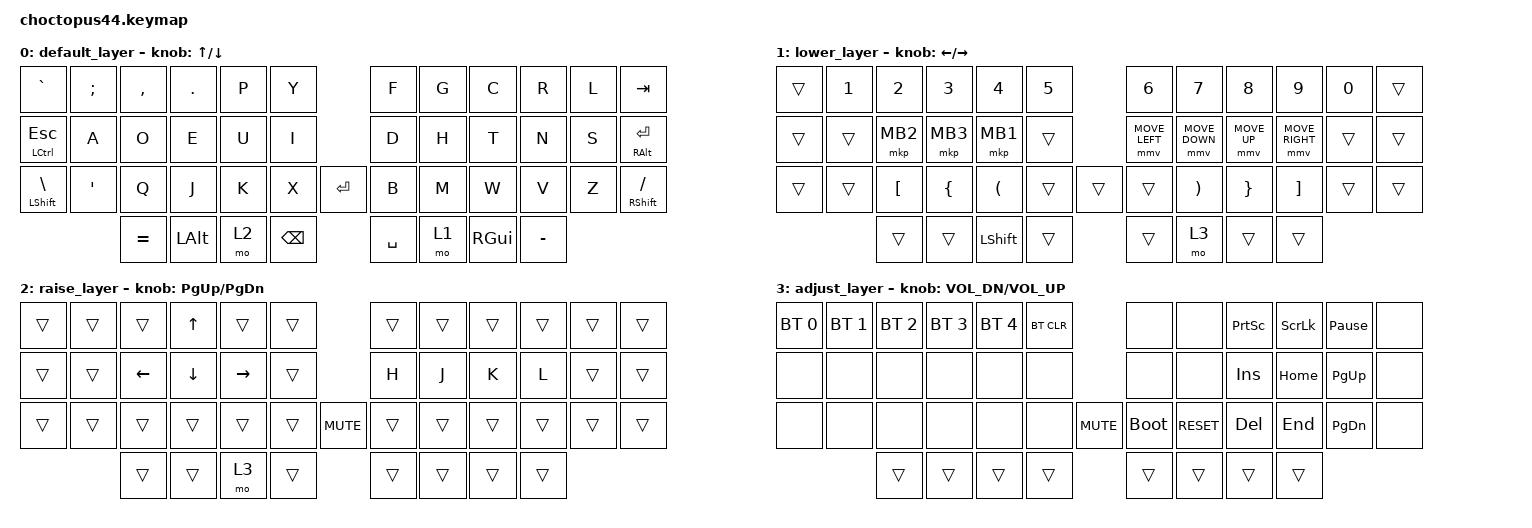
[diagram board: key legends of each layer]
/*
 * Copyright (c) 2021 The ZMK Contributors
 *
 * SPDX-License-Identifier: MIT
 */

#include <behaviors.dtsi>
#include <dt-bindings/zmk/keys.h>
#include <dt-bindings/zmk/bt.h>
#include <dt-bindings/zmk/rgb.h>
#include <dt-bindings/zmk/pointing.h>

&mt {
    tapping-term-ms = <400>;
};

#define ZMK_POINTING_DEFAULT_MOVE_VAL 1000

/ {
  keymap {
    compatible = "zmk,keymap";


    default_layer {
      bindings = <
        &kp GRAVE          &kp SEMI  &kp COMMA   &kp DOT   &kp P    &kp Y                &kp F     &kp G     &kp C      &kp R    &kp L     &kp TAB
        &mt LCTRL ESC      &kp A     &kp O       &kp E     &kp U    &kp I                &kp D     &kp H     &kp T      &kp N    &kp S     &mt RALT RET
        &mt LSHFT BSLH     &kp SQT   &kp Q       &kp J     &kp K    &kp X      &kp RET   &kp B     &kp M     &kp W      &kp V    &kp Z     &mt RSHFT FSLH
                                     &kp EQUAL   &kp LALT  &mo 2    &kp BSPC             &kp SPACE &mo 1     &kp RGUI   &kp MINUS
>;
      sensor-bindings = <&inc_dec_kp UP DOWN>;
    };

    lower_layer {
      bindings = <
        &trans    &kp N1    &kp N2     &kp N3   &kp N4    &kp N5                &kp N6              &kp N7            &kp N8       &kp N9          &kp N0    &trans
        &trans    &trans    &mkp MB2   &mkp MB3 &mkp MB1  &trans                &mmv MOVE_LEFT      &mmv MOVE_DOWN    &mmv MOVE_UP &mmv MOVE_RIGHT &trans    &trans
        &trans    &trans    &kp LBKT   &kp LBRC &kp LPAR  &trans      &trans    &trans              &kp RPAR          &kp RBRC     &kp RBKT        &trans    &trans
                            &trans     &trans   &kp LSHFT &trans                &trans              &mo 3             &trans       &trans
      >;
      sensor-bindings = <&inc_dec_kp LEFT RIGHT>;
    };

    raise_layer {
      bindings = <
        &trans      &trans            &trans                &kp UP                &trans      &trans                    &trans                &trans            &trans      &trans      &trans          &trans
        &trans      &trans            &kp LEFT              &kp DOWN              &kp RIGHT   &trans                    &kp H                 &kp J             &kp K       &kp L       &trans          &trans
        &trans      &trans            &trans                &trans                &trans      &trans       &kp C_MUTE   &trans                &trans            &trans      &trans      &trans          &trans
                                      &trans                &trans                &mo 3       &trans                    &trans                &trans            &trans      &trans
      >;
      sensor-bindings = <&inc_dec_kp PG_UP PG_DN>;
    };

    adjust_layer {
      bindings = <
        &bt BT_SEL 0  &bt BT_SEL 1    &bt BT_SEL 2    &bt BT_SEL 3    &bt BT_SEL 4    &bt BT_CLR                &none         &none         &kp PSCRN     &kp SLCK    &kp PAUSE_BREAK   &none
        &none         &none           &none           &none           &none           &none                     &none         &none         &kp INSERT    &kp HOME    &kp PG_UP         &none
        &none         &none           &none           &none           &none           &none       &kp C_MUTE    &bootloader   &kp C_RESET   &kp DEL       &kp END     &kp PG_DN         &none
                                      &trans          &trans          &trans          &trans                    &trans        &trans        &trans        &trans
      >;
      sensor-bindings = <&inc_dec_kp C_VOL_DN C_VOL_UP>;
    };

  };
};
